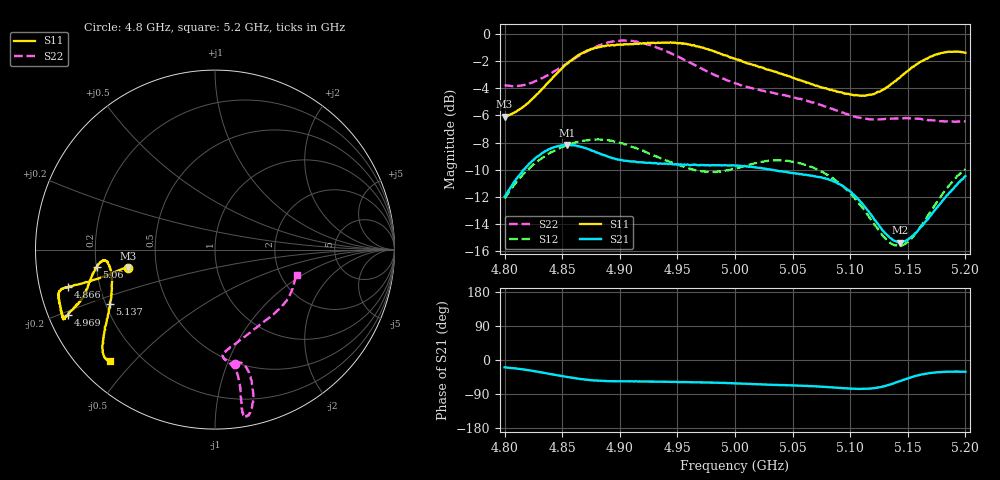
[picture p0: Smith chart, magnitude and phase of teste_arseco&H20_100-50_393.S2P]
! Network Analyzer HP8722D
! Hewlett-Packard
! Data name: Linha & Wilkinson
! Saver's name: Rodrigo Anjos
! Comments: Teste da utilização de aquisição
! continua pelo VNA HP8722D
! Time and date: 6/5/2025 15:50
!  Frequency  S11  S21  S12  S22
# HZ  S  MA R 50
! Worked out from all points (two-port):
!   401 points, 4.8 GHz to 5.2 GHz, reference 50 ohm
!   highest |S21| = -8.17 dB at 4.854 GHz (marker M1); lowest = -15.4 dB at 5.143 GHz (marker M2)
!   |S21| within 3 dB of the highest: 4.806 GHz to 5.093 GHz (286.8 MHz wide, 5.79 % of centre); 5.191862 GHz to end of sweep
!   lowest |S11| = -6.1 dB at 4.8 GHz (marker M3), VSWR 2.97, Z = 17 - j4.59 ohm
!   |S11| at or under -10 dB: nowhere
!   |S22| runs from -6.5 to -0.5 dB; largest |S21 - S12| = 0.62
!   S11 on the Smith chart (normalised r, x): 4.8 GHz: 0.34, -0.09; 4.866 GHz: 0.09, -0.13; 4.969 GHz: 0.06, -0.21; 5.06 GHz: 0.20, -0.07; 5.137 GHz: 0.22, -0.23; 5.2 GHz: 0.09, -0.43
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4.8e9  0.4959 -168.2  0.2514 -19.4  0.2479 -140.6  0.6478 -80.3
4.826e9  0.5869 -167.1  0.3467 -29.4  0.3324 -144.3  0.6677 -75.6
4.854e9  0.7756 -165.7  0.3903 -44.8  0.3887 -149.7  0.7774 -74.6
4.866e9  0.8434 -165.6  0.3838 -50.1  0.4024 -151.6  0.8367 -75.2
4.867e9  0.8468 -165.6  0.3831 -50.7  0.4032 -151.8  0.8418 -75.3
4.883e9  0.8951 -165.0  0.3621 -54.9  0.4083 -154.6  0.9092 -77.2
4.901e9  0.9149 -162.2  0.3442 -56.2  0.3962 -156.5  0.9457 -79.1
4.934e9  0.9268 -156.2  0.3327 -57.4  0.3511 -155.5  0.8839 -80.4
4.969e9  0.8972 -156.1  0.3284 -58.9  0.313 -147.1  0.7535 -79.6
5e9  0.8091 -158.9  0.3273 -61.7  0.3199 -137.1  0.6581 -81.1
5.036e9  0.7236 -165.5  0.3139 -65.8  0.3421 -134.3  0.6023 -85.7
5.06e9  0.6674 -171.5  0.3028 -68.1  0.3307 -135.9  0.57 -84.3
5.067e9  0.6521 -172.9  0.3009 -69.0  0.3236 -136.6  0.5595 -82.7
5.087e9  0.6172 -174.2  0.2849 -72.9  0.2896 -138.4  0.5252 -74.8
5.103e9  0.595 -171.4  0.2561 -76.1  0.2508 -138.5  0.497 -65.4
5.117e9  0.5975 -164.8  0.2185 -75.5  0.2099 -135.0  0.4849 -55.2
5.134e9  0.6449 -154.1  0.1786 -65.4  0.1712 -120.8  0.4871 -43.3
5.137e9  0.6588 -152.5  0.1745 -62.3  0.1679 -117.0  0.4878 -41.5
5.143e9  0.6891 -149.3  0.1707 -56.0  0.1661 -109.0  0.489 -38.1
5.154e9  0.7552 -144.4  0.1808 -44.5  0.1787 -95.0  0.4883 -32.2
5.174e9  0.8392 -138.3  0.2258 -32.6  0.2361 -80.1  0.4797 -23.8
5.2e9  0.8525 -133.4  0.2996 -31.2  0.3183 -76.7  0.4776 -17.5
